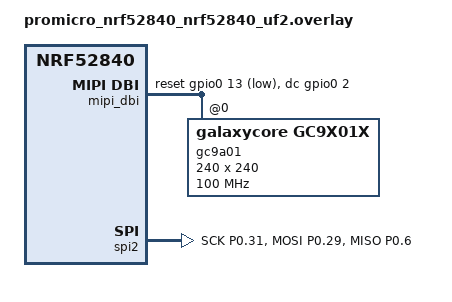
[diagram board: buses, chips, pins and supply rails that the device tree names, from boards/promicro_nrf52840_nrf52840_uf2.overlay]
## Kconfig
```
# Copyright (c) 2023 Fabian Blatz <fabianblatz@gmail.com>
# SPDX-License-Identifier: Apache-2.0

choice LV_Z_DEMO
	prompt "LVGL demo to build"
	default LV_Z_DEMO_MUSIC
	help
	  Demo application to build.

config LV_Z_DEMO_MUSIC
	bool "LVGL music demo"
	select LV_USE_DEMO_MUSIC
	help
	  Build music player demo application.

config LV_Z_DEMO_BENCHMARK
	bool "LVGL benchmark demo"
	select LV_USE_DEMO_BENCHMARK
	select LV_USE_DEMO_WIDGETS
	help
	  Build benchmarking demo application.

config LV_Z_DEMO_STRESS
	bool "LVGL stress demo"
	select LV_USE_DEMO_STRESS
	help
	  Build stress testing demo application.

config LV_Z_DEMO_WIDGETS
	bool "LVGL widgets demo"
	select LV_USE_DEMO_WIDGETS
	help
	  Build widgets demo application.

config LV_Z_DEMO_FLEX_LAYOUT
	bool "LVGL flex layout demo"
	select LV_USE_DEMO_FLEX_LAYOUT
	help
	  Build flex layout demo application.

config LV_Z_DEMO_KEYPAD_AND_ENCODER
	bool "LVGL keypad and encoder demo"
	select LV_USE_DEMO_KEYPAD_AND_ENCODER
	help
	  Build keypad and encoder demo application.

config LV_Z_DEMO_RENDER
	bool "LVGL render demo"
	select LV_USE_DEMO_RENDER
	help
	  Build render demo application.

config LV_Z_DEMO_SCROLL
	bool "LVGL scroll demo"
	select LV_USE_DEMO_SCROLL
	help
	  Build scroll demo application.

config LV_Z_DEMO_MULTILANG
	bool "LVGL multilang demo"
	select LV_USE_DEMO_MULTILANG
	select LV_USE_IMGFONT
	help
	  Build multilang demo application.

endchoice

config LV_Z_DEMO_RENDER_SCENE_DYNAMIC
	bool "Switch scenes dynamically"
	help
	  Switch between scenes to render dynamically.

config LV_Z_DEMO_RENDER_SCENE_INDEX
	int "Index of the rendered scene"
	depends on !LV_Z_DEMO_RENDER_SCENE_DYNAMIC
	default 0
	range 0 11
	help
	  Render scene by its index (refer to lv_demo_render.h)

config LV_Z_DEMO_RENDER_DYNAMIC_SCENE_TIMEOUT
	int "Seconds each rendered scene is shown"
	depends on LV_Z_DEMO_RENDER_SCENE_DYNAMIC
	default 3
	help
	  Seconds each rendered scenar is shown

source "Kconfig.zephyr"
```

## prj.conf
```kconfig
CONFIG_SPI=y
CONFIG_GPIO=y
CONFIG_PRINTK=y
CONFIG_LOG=y


CONFIG_DISPLAY=y
CONFIG_MIPI_DBI=y
CONFIG_GC9X01X=y

CONFIG_MAIN_STACK_SIZE=4096

CONFIG_LVGL=y
CONFIG_LV_Z_MEM_POOL_SIZE=58368

CONFIG_LV_FONT_MONTSERRAT_24=y
```

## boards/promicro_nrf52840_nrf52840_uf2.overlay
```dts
#include <zephyr/dt-bindings/gpio/gpio.h>
#include <zephyr/dt-bindings/display/panel.h>
#include <zephyr/dt-bindings/mipi_dbi/mipi_dbi.h>

/ {
    chosen {
        zephyr,display = &gc9a01;
    };

    mipi_dbi {
        compatible = "zephyr,mipi-dbi-spi";
        dc-gpios = <&gpio0 2 GPIO_ACTIVE_HIGH>;
        reset-gpios = <&gpio0 13 GPIO_ACTIVE_LOW>;
        spi-dev = <&spi2>;
        #address-cells = <1>;
        #size-cells = <0>;

        gc9a01: gc9a01@0 {
            status = "okay";
            mipi-max-frequency = <100000000>;

            compatible = "galaxycore,gc9x01x";
            reg = <0>;
            pixel-format = <PANEL_PIXEL_FORMAT_RGB_565>;
            width = <240>;
            height = <240>;
            display-inversion;
        };
    };
};

&pinctrl {
    spi2_default: spi2_default {
        group1 {
            psels = <NRF_PSEL(SPIM_SCK, 0, 31)>,
                    <NRF_PSEL(SPIM_MOSI, 0, 29)>,
                    <NRF_PSEL(SPIM_MISO, 0, 6)>; // Optional
        };
    };

    spi2_sleep: spi2_sleep {
        group1 {
            psels = <NRF_PSEL(SPIM_SCK, 0, 31)>,
                    <NRF_PSEL(SPIM_MOSI, 0, 29)>,
                    <NRF_PSEL(SPIM_MISO, 0, 6)>; // Optional
        };
    };
};

&spi2 {
    status = "okay";
    pinctrl-0 = <&spi2_default>;
    pinctrl-1 = <&spi2_sleep>;
    pinctrl-names = "default", "sleep";
};
```

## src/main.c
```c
#include <zephyr/kernel.h>
#include <zephyr/drivers/display.h>
#include <zephyr/drivers/gpio.h>
#include <lvgl.h>
#include <lvgl_mem.h>
#include <lv_demos.h>
#include <zephyr/logging/log.h>

#define LOG_LEVEL CONFIG_LOG_DEFAULT_LEVEL
LOG_MODULE_REGISTER(main, LOG_LEVEL);

#define GP_0_PINS DT_NODELABEL(gpio0) // GPIO controller 0
#define GP_1_PINS DT_NODELABEL(gpio1) // GPIO controller 0
#define VCC_CTRL_PIN 13 // vcc control
#define CS_PIN 20 // cs pin
#define RESET_PIN 17 // rst

int main(void)
{
    const struct device *display_dev;
    lv_obj_t *hello_world_label;
    lv_obj_t *count_label;

    display_dev = DEVICE_DT_GET(DT_CHOSEN(zephyr_display));
    if (!device_is_ready(display_dev)) {
        LOG_ERR("Device not ready, aborting test");
        return 0;
    }

    hello_world_label = lv_label_create(lv_screen_active());

    lv_label_set_text(hello_world_label, "Hello world!");
	lv_obj_align(hello_world_label, LV_ALIGN_CENTER, 0, 0);

	count_label = lv_label_create(lv_screen_active());
	lv_obj_align(count_label, LV_ALIGN_BOTTOM_MID, 0, 0);

	lv_timer_handler();
	display_blanking_off(display_dev);


    while (1) {
        k_msleep(10);
        lv_timer_handler();
    }
}
```
